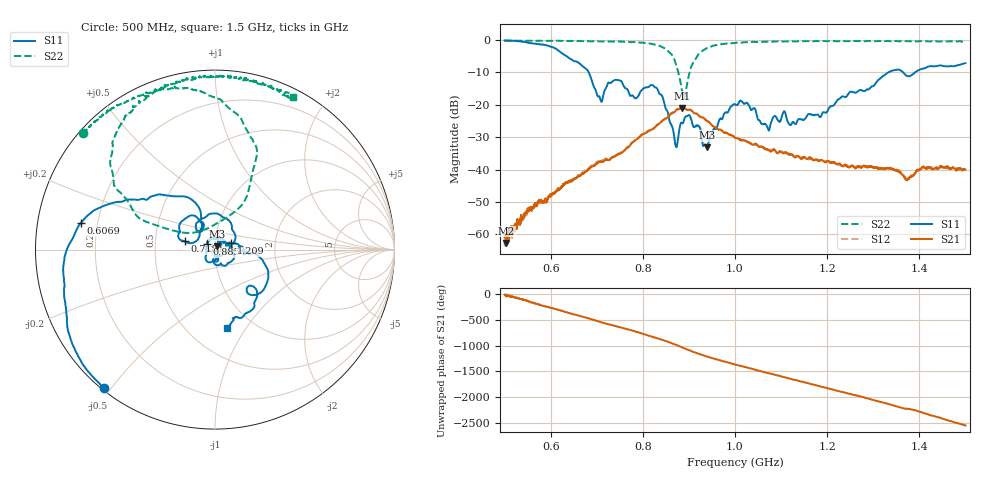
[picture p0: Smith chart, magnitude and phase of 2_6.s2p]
!Agilent Technologies,E8364B,US42250235,A.06.04.32
!Agilent E8364B: A.06.04.32
!Date: Friday, January 15, 2021 12:34:33
!Correction: S11(Full 2 Port(1,2)) S21(Full 2 Port(1,2)) S12(Full 2 Port(1,2)) S22(Full 2 Port(1,2))
!S2P File: Measurements: S11, S21, S12, S22:
# Hz S  dB  R 50
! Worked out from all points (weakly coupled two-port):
!   1601 points, 500 MHz to 1.5 GHz, reference 50 ohm
!   highest |S21| = -20.99 dB at 885 MHz (marker M1); lowest = -62.7 dB at 503.8 MHz (marker M2)
!   lowest |S11| = -33.1 dB at 939.4 MHz (marker M3), VSWR 1.05, Z = 51.1 + j1.94 ohm
!   |S11| at or under -10 dB: 682.7 MHz to 1.332 GHz (649.4 MHz wide, 64.5 % of centre); 1.365 GHz to 1.39 GHz (25.46 MHz wide, 1.85 % of centre)
!   |S22| runs from -18.1 to -0.2 dB; largest |S21 - S12| = 0.0066
!   S11 on the Smith chart (normalised r, x): 500 MHz: 0.01, -0.48; 606.9 MHz: 0.14, +0.10; 718.1 MHz: 0.71, +0.07; 885 MHz: 0.91, +0.05; 1.209 GHz: 1.19, +0.09; 1.5 GHz: 0.76, -0.82
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5e8  -0.11 -128.8  -61.03 -12.4  -63.70 -1.6  -0.18 138.5
5.0375e8  -0.11 -130.5  -62.73 -49.1  -60.91 -20.0  -0.18 138.2
6.06875e8  -2.35 168.9  -47.53 78.8  -47.32 79.9  -0.23 127.8
6.66875e8  -7.76 132.4  -41.61 -71.9  -41.33 -71.6  -0.30 121.9
7.0625e8  -17.63 131.8  -37.70 -176.9  -37.18 -175.7  -0.41 117.1
7.18125e8  -15.19 164.7  -37.13 152.0  -36.75 153.5  -0.42 115.7
7.4375e8  -12.29 139.0  -35.58 90.7  -35.31 92.3  -0.48 110.8
7.8375e8  -17.99 125.4  -30.94 -7.4  -30.97 -5.9  -0.60 103.8
8.3375e8  -15.92 53.9  -25.96 -145.4  -26.16 -144.0  -1.62 87.4
8.7125e8  -32.69 -134.4  -21.85 97.6  -22.05 100.6  -7.18 62.7
8.85e8  -25.54 146.0  -20.99 45.1  -21.07 48.9  -15.74 77.8
9e8  -23.16 90.2  -21.53 -7.9  -21.50 -4.6  -10.77 156.6
9.39375e8  -33.12 59.5  -25.03 -133.0  -24.86 -130.8  -2.44 140.6
1e9  -19.88 -12.1  -30.18 73.0  -30.04 75.4  -0.88 120.3
1.071875e9  -27.49 -84.8  -33.83 -95.6  -33.96 -92.1  -0.46 108.6
1.10625e9  -22.03 -117.6  -34.94 -171.1  -34.87 -172.2  -0.39 105.4
1.12e9  -26.30 -170.1  -35.23 156.2  -35.23 155.8  -0.35 102.7
1.166875e9  -23.07 34.9  -36.61 47.4  -36.86 51.2  -0.40 98.0
1.209375e9  -20.36 22.0  -37.86 -47.3  -37.88 -46.2  -0.29 93.3
1.33375e9  -9.86 -22.5  -39.69 22.1  -39.57 24.4  -0.30 81.6
1.373125e9  -11.07 -50.8  -43.05 -67.5  -43.12 -66.9  -0.31 77.4
1.5e9  -7.14 -81.0  -40.03 -31.9  -39.95 -32.3  -0.41 62.7
